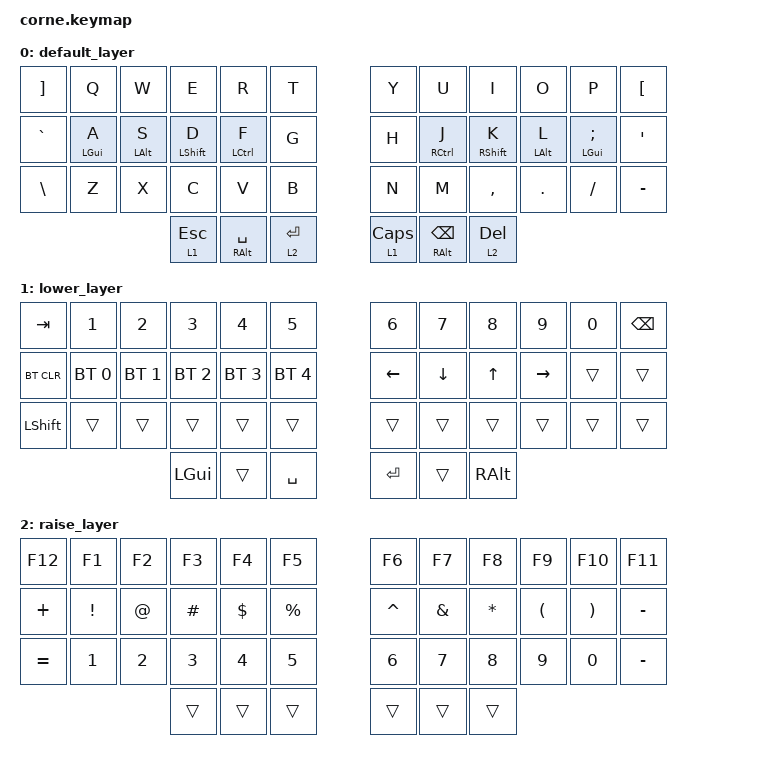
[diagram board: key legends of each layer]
/*
 * Copyright (c) 2020 The ZMK Contributors
 *
 * SPDX-License-Identifier: MIT
 */

#include <behaviors.dtsi>
#include <dt-bindings/zmk/keys.h>
#include <dt-bindings/zmk/bt.h>

#include <dt-bindings/zmk/behaviors.h>

/ {
    behaviors {
        mt: mod_tap {
            compatible = "zmk,behavior-hold-tap";
            #binding-cells = <2>;
            flavor = "balanced";
            tapping-term-ms = <200>;
            bindings = <&kp>, <&kp>;
            display-name = "Mod-Tap";
        };
    };
};


/ {
    combos {
        compatible = "zmk,combos";
        combo_esc {
            timeout-ms = <50>;
            key-positions = <1 2>;
            bindings = <&kp ESC>;
        };
	combo_tab {
            timeout-ms = <50>;
            key-positions = <2 3>;
            bindings = <&kp TAB>;
        };
        combo_mute {
            timeout-ms = <50>;
            key-positions = <8 9>;
            bindings = <&kp K_MUTE>;
        };
        combo_print {
            timeout-ms = <50>;
            key-positions = <32 33>;
            bindings = <&kp PRINTSCREEN>;
        };
    };
};

/ {
        keymap {
                compatible = "zmk,keymap";

                default_layer {
// -----------------------------------------------------------------------------------------
// |  }   |  Q  |  W  |  E  |  R  |  T  |   |  Y  |  U   |  I  |  O  |  P  |  {   |
// |  ~   |  A  |  S  |  D  |  F  |  G  |   |  H  |  J   |  K  |  L  |  ;  |  '   |
// |  \   |  Z  |  X  |  C  |  V  |  B  |   |  N  |  M   |  ,  |  .  |  /  |   -  |
//                    | ESC | SPC | ENT |   | CAP | BSP  | DEL |
//                      LWR   RAL   RAI       RAI   RAL   LWR 
		      bindings = <
   &kp RIGHT_BRACKET   &kp Q &kp W &kp E &kp R &kp T   &kp Y
   &kp U  &kp I     &kp O   &kp P    &kp LEFT_BRACKET
   &kp GRAVE &mt LEFT_GUI A &mt LEFT_ALT S &mt LEFT_SHIFT D &mt LEFT_CONTROL F &kp G
   &kp H &mt RIGHT_CONTROL J  &mt RIGHT_SHIFT K &mt LEFT_ALT L   &mt LEFT_GUI SEMI &kp SQT
   &kp BACKSLASH &kp Z &kp X &kp C &kp V &kp B
   &kp N &kp M  &kp COMMA &kp DOT &kp FSLH &kp MINUS
                  &lt 1 ESC &mt RIGHT_ALT SPACE  &lt 2 RET
		  &lt 1 CAPS &mt RIGHT_ALT BACKSPACE  &lt 2 DEL
                        >;
                };
                lower_layer {
// -----------------------------------------------------------------------------------------
// |  TAB |  1  |  2  |  3  |  4  |  5  |   |  6  |  7  |  8  |  9  |  0  | BSPC |
// | BTCLR| BT1 | BT2 | BT3 | BT4 | BT5 |   | LFT | DWN |  UP | RGT |     |      |
// | SHFT |     |     |     |     |     |   |     |     |     |     |     |      |
//                    | GUI |     | SPC |   | ENT |     | ALT |
                        bindings = <
   &kp TAB    &kp N1       &kp N2       &kp N3       &kp N4       &kp N5         &kp N6   &kp N7   &kp N8 &kp N9    &kp N0 &kp BSPC
   &bt BT_CLR &bt BT_SEL 0 &bt BT_SEL 1 &bt BT_SEL 2 &bt BT_SEL 3 &bt BT_SEL 4   &kp LEFT &kp DOWN &kp UP &kp RIGHT &trans &trans
   &kp LSHFT  &trans       &trans       &trans       &trans       &trans         &trans   &trans   &trans &trans    &trans &trans
                                    &kp LGUI     &trans       &kp SPACE      &kp RET  &trans   &kp RALT
                        >;
                };

                raise_layer {
// -----------------------------------------------------------------------------------------
// |  F12 |  F1 |  F2 |  F3 |  F4 |  F5 |   |  F6 |  F7 |  F8 |  F9 | F10 | F11  |
// | +    |  !  |  @  |  #  |  $  |  %  |   |  ^  |  &  |  *  |  (  |  )  |  -   |
// | =    |  1  |  2  |  3  |  4  |  5  |   |  6  |  7  |  8  |  9  | 0   |  -   |
//                    | GUI |     | SPC |   | ENT |     | ALT |
                        bindings = <
   &kp F12 &kp F1  &kp F2 &kp F3 &kp F4 &kp F5
   &kp F6  &kp F7  &kp F8 &kp F9 &kp F10 &kp F11
   &kp PLUS &kp EXCLAMATION &kp AT &kp HASH &kp DOLLAR &kp PERCENT
   &kp CARET &kp AMPERSAND &kp ASTERISK &kp LPAR &kp RPAR &kp MINUS
   &kp EQUAL &kp N1 &kp N2 &kp N3 &kp N4   &kp N5
   &kp N6 &kp N7  &kp N8 &kp N9 &kp N0 &kp MINUS
                             &trans &trans &trans
			     &trans &trans &trans
                        >;
                };
        };
};
